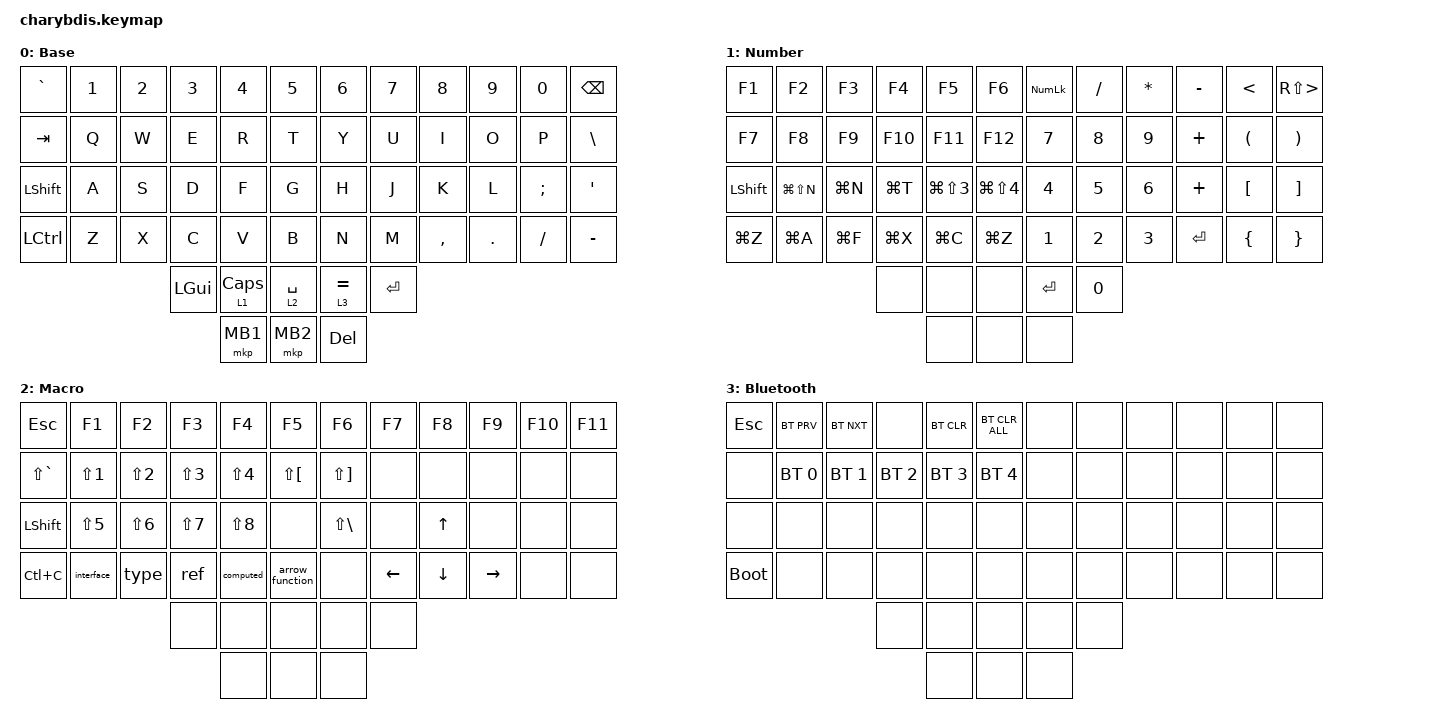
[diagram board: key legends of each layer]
#include <dt-bindings/zmk/mouse.h>
#include <behaviors.dtsi>
#include <dt-bindings/zmk/bt.h>
#include <dt-bindings/zmk/keys.h>
#include <dt-bindings/zmk/pointing.h>

&lt {
    flavor = "balanced";
    tapping-term-ms = <200>;
    quick-tap-ms = <150>;
};

/ {
    combos { compatible = "zmk,combos"; };

    macros {
        arrow_function: arrow_function {
            compatible = "zmk,behavior-macro";
            #binding-cells = <0>;
            bindings = <&kp C &kp O &kp N &kp S &kp T &kp SPACE &kp SPACE &kp EQUAL &kp SPACE &kp LPAR &kp RPAR &kp SPACE &kp EQUAL &kp GT &kp SPACE &kp LBRC &kp RBRC>;
            label = "ARROW_FUNCTION";
        };

        interface: interface {
            compatible = "zmk,behavior-macro";
            #binding-cells = <0>;
            bindings = <&kp I &kp N &kp T &kp E &kp R &kp F &kp A &kp C &kp E &kp SPACE &kp LS(F) &kp O &kp O &kp SPACE &kp LBRC &kp RET &kp SPACE &kp SPACE &kp B &kp A &kp R &kp COLON &kp SPACE &kp S &kp T &kp R &kp I &kp N &kp G &kp RET &kp RBRC>;
            label = "INTERFACE";
        };

        type: type {
            compatible = "zmk,behavior-macro";
            #binding-cells = <0>;
            bindings = <&kp T &kp Y &kp P &kp E &kp SPACE &kp LS(F) &kp O &kp O &kp SPACE &kp EQUAL &kp SPACE &kp S &kp T &kp R &kp I &kp N &kp G>;
            label = "TYPE";
        };

        ref: ref {
            compatible = "zmk,behavior-macro";
            #binding-cells = <0>;
            bindings = <&kp C &kp O &kp N &kp S &kp T &kp SPACE &kp F &kp O &kp O &kp SPACE &kp EQUAL &kp SPACE &kp R &kp E &kp F &kp LPAR &kp RPAR>;
            label = "REF";
        };

        computed: computed {
            compatible = "zmk,behavior-macro";
            #binding-cells = <0>;
            bindings = <&kp C &kp O &kp N &kp S &kp T &kp SPACE &kp F &kp O &kp O &kp SPACE &kp EQUAL &kp SPACE &kp C &kp O &kp M &kp P &kp U &kp T &kp E &kp D &kp LPAR &kp LPAR &kp RPAR &kp SPACE &kp EQUAL &kp GT &kp SPACE &kp SQT &kp B &kp A &kp R &kp SQT &kp RPAR>;
            label = "COMPUTED";
        };

        m_lclk: m_lclk {
            compatible = "zmk,behavior-macro";
            #binding-cells = <0>;
            bindings = <&mkp MB1>;
            label = "M_LCLK";
            wait-ms = <0>;
            tap-ms = <30>;
        };

        m_rlck: m_rlck {
            compatible = "zmk,behavior-macro";
            #binding-cells = <0>;
            bindings = <&mkp MB2>;
            label = "M_RLCK";
            wait-ms = <0>;
            tap-ms = <30>;
        };
    };

    keymap {
        compatible = "zmk,keymap";

        Base {
            bindings = <
&kp GRAVE       &kp N1  &kp N2  &kp N3    &kp N4      &kp N5         &kp N6       &kp N7     &kp N8     &kp N9   &kp N0     &kp BACKSPACE
&kp TAB         &kp Q   &kp W   &kp E     &kp R       &kp T          &kp Y        &kp U      &kp I      &kp O    &kp P      &kp BACKSLASH
&kp LEFT_SHIFT  &kp A   &kp S   &kp D     &kp F       &kp G          &kp H        &kp J      &kp K      &kp L    &kp SEMI   &kp APOS
&kp LCTRL       &kp Z   &kp X   &kp C     &kp V       &kp B          &kp N        &kp M      &kp COMMA  &kp DOT  &kp SLASH  &kp MINUS
                                &kp LGUI  &lt 1 CAPS  &lt 2 SPACE    &lt 3 EQUAL  &kp ENTER
                                          &mkp MB1    &mkp MB2       &kp DELETE
            >;
        };

        Number {
            bindings = <
&kp F1     &kp F2         &kp F3     &kp F4     &kp F5                &kp F6                  &kp KP_NUMLOCK  &kp SLASH     &kp ASTERISK  &kp MINUS  &kp LESS_THAN         &kp RS(GREATER_THAN)
&kp F7     &kp F8         &kp F9     &kp F10    &kp F11               &kp F12                 &kp N7          &kp N8        &kp N9        &kp PLUS   &kp LEFT_PARENTHESIS  &kp RIGHT_PARENTHESIS
&kp LSHFT  &kp LG(LS(N))  &kp LG(N)  &kp LG(T)  &kp LG(LS(NUMBER_3))  &kp LG(LS(NUMBER_4))    &kp NUMBER_4    &kp N5        &kp NUMBER_6  &kp PLUS   &kp LEFT_BRACKET      &kp RIGHT_BRACKET
&kp LG(Z)  &kp LG(A)      &kp LG(F)  &kp LG(X)  &kp LG(C)             &kp LG(Z)               &kp NUMBER_1    &kp NUMBER_2  &kp NUMBER_3  &kp ENTER  &kp LEFT_BRACE        &kp RIGHT_BRACE
                                     &none      &none                 &none                   &kp ENTER       &kp N0
                                                &none                 &none                   &none
            >;
        };

        Macro {
            bindings = <
&kp ESC        &kp F1      &kp F2      &kp F3      &kp F4      &kp F5             &kp F6             &kp F7    &kp F8    &kp F9     &kp F10  &kp F11
&kp LS(GRAVE)  &kp LS(N1)  &kp LS(N2)  &kp LS(N3)  &kp LS(N4)  &kp LS(LBKT)       &kp LS(RBKT)       &none     &none     &none      &none    &none
&kp LSHFT      &kp LS(N5)  &kp LS(N6)  &kp LS(N7)  &kp LS(N8)  &none              &kp LS(BACKSLASH)  &none     &kp UP    &none      &none    &none
&kp LC(C)      &interface  &type       &ref        &computed   &arrow_function    &none              &kp LEFT  &kp DOWN  &kp RIGHT  &none    &none
                                       &none       &none       &none              &none              &none
                                                   &none       &none              &none
            >;
        };

        Bluetooth {
            bindings = <
&kp ESC      &bt BT_PRV    &bt BT_NXT    &none         &bt BT_CLR    &bt BT_CLR_ALL    &none  &none  &none  &none  &none  &none
&none        &bt BT_SEL 0  &bt BT_SEL 1  &bt BT_SEL 2  &bt BT_SEL 3  &bt BT_SEL 4      &none  &none  &none  &none  &none  &none
&none        &none         &none         &none         &none         &none             &none  &none  &none  &none  &none  &none
&bootloader  &none         &none         &none         &none         &none             &none  &none  &none  &none  &none  &none
                                         &none         &none         &none             &none  &none
                                                       &none         &none             &none
            >;
        };
    };
};
